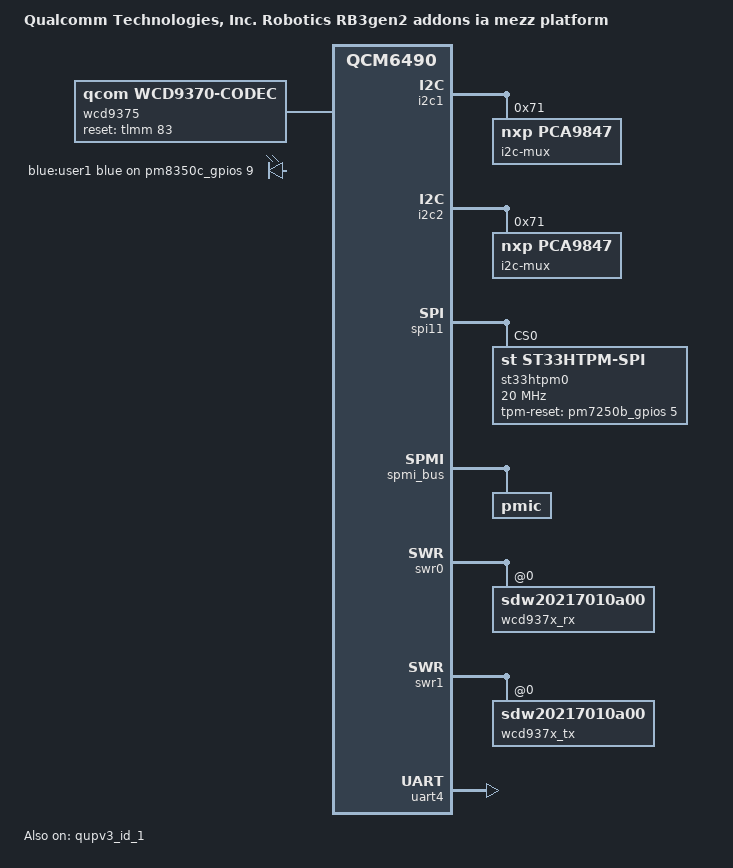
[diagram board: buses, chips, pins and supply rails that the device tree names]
// SPDX-License-Identifier: BSD-3-Clause
/*
 * Copyright (c) 2023-2024 Qualcomm Innovation Center, Inc. All rights reserved.
 */

/dts-v1/;

#include "qcs6490-rb3gen2.dts"
#include "qcs6490-addons-rb3gen2.dtsi"

/ {
	model = "Qualcomm Technologies, Inc. Robotics RB3gen2 addons ia mezz platform";
	compatible = "qcom,qcs6490-addons-rb3gen2-ia-mezz", "qcom,qcm6490";

	qcom,msm-id = <497 0x10000>, <498 0x10000>, <475 0x10000>, <515 0x10000>;
	qcom,board-id = <32 0x9>, <32 0x609>;

	aliases {
		hsuart0 = &uart4;
	};

	wcd9375: audio-codec-0 {
		compatible = "qcom,wcd9370-codec";
		pinctrl-names = "default", "sleep";
		pinctrl-0 = <&wcd_reset_n>;
		pinctrl-1 = <&wcd_reset_n_sleep>;
		reset-gpios = <&tlmm 83 GPIO_ACTIVE_HIGH>;
		qcom,micbias1-microvolt = <1800000>;
		qcom,micbias2-microvolt = <1800000>;
		qcom,micbias3-microvolt = <1800000>;
		qcom,rx-device = <&wcd937x_rx>;
		qcom,tx-device = <&wcd937x_tx>;
		qcom,hphl-jack-type-normally-closed = <1>;
		qcom,ground-jack-type-normally-closed = <1>;
		qcom,always-on-supply;
		#sound-dai-cells = <1>;
	};
};

&i2c1 {
	status = "okay";

	i2c-mux@71 {
		compatible = "nxp,pca9847";
		#address-cells = <1>;
		#size-cells = <0>;
		reg = <0x71>;

		i2c@1 {
			#address-cells = <1>;
			#size-cells = <0>;
			reg = <1>;
		};

		i2c@2 {
			#address-cells = <1>;
			#size-cells = <0>;
			reg = <2>;
		};

		i2c@3 {
			#address-cells = <1>;
			#size-cells = <0>;
			reg = <3>;
		};

		i2c@4 {
			#address-cells = <1>;
			#size-cells = <0>;
			reg = <4>;
		};

		i2c@5 {
			#address-cells = <1>;
			#size-cells = <0>;
			reg = <5>;
		};

		i2c@6 {
			#address-cells = <1>;
			#size-cells = <0>;
			reg = <6>;
		};

		i2c@7 {
			#address-cells = <1>;
			#size-cells = <0>;
			reg = <7>;
		};
	};
};

&i2c2 {
	status = "okay";

	i2c-mux@71 {
		compatible = "nxp,pca9847";
		#address-cells = <1>;
		#size-cells = <0>;
		reg = <0x71>;

		i2c@0 {
			#address-cells = <1>;
			#size-cells = <0>;
			reg = <0>;
		};

		i2c@1 {
			#address-cells = <1>;
			#size-cells = <0>;
			reg = <1>;
		};

		i2c@2 {
			#address-cells = <1>;
			#size-cells = <0>;
			reg = <2>;
		};

		i2c@3 {
			#address-cells = <1>;
			#size-cells = <0>;
			reg = <3>;
		};

		i2c@4 {
			#address-cells = <1>;
			#size-cells = <0>;
			reg = <4>;
		};
	};
};

&lpass_rx_swr_clk {
	drive-strength = <2>;
	slew-rate = <1>;
	bias-disable;
};

&lpass_rx_swr_data {
	drive-strength = <2>;
	slew-rate = <1>;
	bias-bus-hold;
};

&lpass_tx_swr_clk {
	drive-strength = <2>;
	slew-rate = <1>;
	bias-disable;
};

&lpass_tx_swr_data {
	drive-strength = <2>;
	slew-rate = <1>;
	bias-bus-hold;
};

&pm7250b_gpios {
	gpio5_tpm_dig_out {
		gpio5_dig_out_default: gpio5_dig_out_default {
			pins = "gpio5";
			function = "normal";
			power-source = <1>;
			output-high;
			input-disable;
			bias-pull-up;
			qcom,drive-strength = <3>;
		};
	};
};

&qupv3_id_1 {
	status = "okay";
};

&sound {
	compatible = "qcom,qcs6490-rb3gen2-ia-sndcard";
	model = "qcm6490-rb3-ia-snd-card";
	audio-routing =
		"SpkrLeft IN", "WSA_SPK1 OUT",
		"SpkrRight IN", "WSA_SPK2 OUT",
		"IN1_HPHL", "HPHL_OUT",
		"IN2_HPHR", "HPHR_OUT",
		"AMIC2", "MIC BIAS2",
		"TX SWR_ADC1", "ADC2_OUTPUT",
		"VA DMIC0", "vdd-micb",
		"VA DMIC1", "vdd-micb",
		"VA DMIC2", "vdd-micb",
		"VA DMIC3", "vdd-micb";
	#address-cells = <1>;
	#size-cells = <0>;
	wcd-playback-dai-link {
		link-name = "CODEC_DMA-LPAIF_RXTX-RX-0";
		cpu {
			sound-dai = <&q6apmbedai RX_CODEC_DMA_RX_0>;
		};


		codec {
			sound-dai = <&wcd9375 0>, <&swr0 0>, <&lpass_rx_macro 0>;
		};
	};


	wcd-capture-dai-link {
		link-name = "CODEC_DMA-LPAIF_RXTX-TX-3";
		cpu {
			sound-dai = <&q6apmbedai TX_CODEC_DMA_TX_3>;
		};


		codec {
			sound-dai = <&wcd9375 1>, <&swr1 0>, <&lpass_tx_macro 0>;
		};
	};
};

&spi11 {
	status = "okay";

	st33htpm0: st33htpm@0 {
		compatible = "st,st33htpm-spi";
		reg = <0>;
		spi-max-frequency = <20000000>;
		#address-cells = <1>;
		#size-cells = <0>;
		pinctrl-names = "default";
		pinctrl-0 = <&gpio5_dig_out_default>;
		tpm-reset-gpio = <&pm7250b_gpios 5 0>;
	};
};

&spmi_bus {
	pmic@PM7250B_SID {
		pm7250b_bcl: bcl@1d00 {
			compatible = "qcom,bcl-v5";
			reg = <0x1d00>;
			interrupts = <PM7250B_SID 0x1d 0x0 IRQ_TYPE_EDGE_RISING>,
					<PM7250B_SID 0x1d 0x1 IRQ_TYPE_EDGE_RISING>,
					<PM7250B_SID 0x1d 0x2 IRQ_TYPE_EDGE_RISING>;
			interrupt-names = "bcl-lvl0",
						"bcl-lvl1",
						"bcl-lvl2";
			#thermal-sensor-cells = <1>;
		};
	};
};

&swr0 {
	wcd937x_rx: codec@0,4 {
		compatible = "sdw20217010a00";
		reg = <0 4>;
		qcom,rx-port-mapping = <1 2 3 4 5>;
	};
};

&swr1 {
	wcd937x_tx: codec@0,3 {
		compatible = "sdw20217010a00";
		reg = <0 3>;
		qcom,tx-port-mapping = <1 1 2 3>;
	};
};

&thermal_zones {
	pm7250b-ibat-lvl0 {
		polling-delay-passive = <0>;
		polling-delay = <0>;
		thermal-sensors = <&pm7250b_bcl 0>;

		trips {
			ibat_lvl0:ibat-lvl0 {
				temperature = <6000>;
				hysteresis = <200>;
				type = "passive";
			};
		};
	};

	pm7250b-ibat-lvl1 {
		polling-delay-passive = <0>;
		polling-delay = <0>;
		thermal-sensors = <&pm7250b_bcl 1>;

		trips {
			ibat_lvl1:ibat-lvl1 {
				temperature = <7500>;
				hysteresis = <200>;
				type = "passive";
			};
		};
	};

	pm7250b-bcl-lvl0 {
		polling-delay-passive = <100>;
		polling-delay = <0>;
		thermal-sensors = <&pm7250b_bcl 5>;

		trips {
			b_bcl_lvl0: b-bcl-lvl0 {
				temperature = <1>;
				hysteresis = <1>;
				type = "passive";
			};
		};

		cooling-maps {
			map0 {
				trip = <&b_bcl_lvl0>;
				cooling-device = <&CPU4_idle 100 100>;
			};

			map1 {
				trip = <&b_bcl_lvl0>;
				cooling-device = <&CPU5_idle 100 100>;
			};

			map2 {
				trip = <&b_bcl_lvl0>;
				cooling-device = <&CPU6_idle 100 100>;
			};

			map3 {
				trip = <&b_bcl_lvl0>;
				cooling-device = <&CPU7_idle 100 100>;
			};

			map4 {
				trip = <&b_bcl_lvl0>;
				cooling-device = <&cdsp_sw 2 2>;
			};

			map5 {
				trip = <&b_bcl_lvl0>;
				cooling-device = <&modem_pa 2 2>;
			};

			map6 {
				trip = <&b_bcl_lvl0>;
				cooling-device = <&modem_tj 1 1>;
			};
		};
	};

	pm7250b-bcl-lvl1 {
		polling-delay-passive = <100>;
		polling-delay = <0>;
		thermal-sensors = <&pm7250b_bcl 6>;

		trips {
			b_bcl_lvl1: b-bcl-lvl1 {
				temperature = <1>;
				hysteresis = <1>;
				type = "passive";
			};
		};

		cooling-maps {
			map0 {
				trip = <&b_bcl_lvl1>;
				cooling-device = <&msm_gpu 5 THERMAL_NO_LIMIT>;
			};

			map1 {
				trip = <&b_bcl_lvl1>;
				cooling-device = <&cdsp_sw 4 4>;
			};

			map2 {
				trip = <&b_bcl_lvl1>;
				cooling-device = <&modem_tj 3 3>;
			};
		};
	};

	pm7250b-bcl-lvl2 {
		polling-delay-passive = <100>;
		polling-delay = <0>;
		thermal-sensors = <&pm7250b_bcl 7>;

		trips {
			b_bcl_lvl2: b-bcl-lvl2 {
				temperature = <1>;
				hysteresis = <1>;
				type = "passive";
			};
		};

		cooling-maps {
			map0 {
				trip = <&b_bcl_lvl2>;
				cooling-device = <&cdsp_sw 5 5>;
			};
		};
	};
};

&tlmm {
	wcd_reset_n: wcd-reset-n-state {
		pins = "gpio83";
		function = "gpio";
		drive-strength = <8>;
	};


	wcd_reset_n_sleep: wcd-reset-n-sleep-state {
		pins = "gpio83";
		function = "gpio";
		drive-strength = <8>;
		bias-disable;
	};
};

&uart4 {
	status = "okay";
};

&soc {
	leds {
		compatible = "gpio-leds";

		led-0 {
			label = "blue:user1";
			function = LED_FUNCTION_INDICATOR;
			color = <LED_COLOR_ID_BLUE>;
			gpios = <&pm8350c_gpios 9 GPIO_ACTIVE_HIGH>;
			default-state = "off";
			panic-indicator;
			status = "okay";
		};
	};
};
